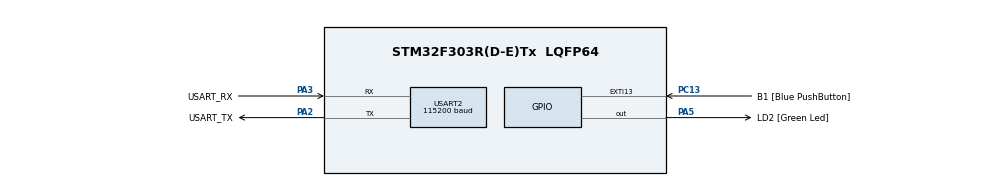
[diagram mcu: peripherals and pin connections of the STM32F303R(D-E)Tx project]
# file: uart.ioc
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Mcu.Family=STM32F3
Mcu.Name=STM32F303R(D-E)Tx
Mcu.Package=LQFP64
NVIC.PriorityGroup=NVIC_PRIORITYGROUP_0
NVIC.USART2_IRQn=true\:0\:0\:false\:false\:true\:true\:true
PA13.GPIO_Label=TMS
PA13.Mode=Serial_Wire
PA13.Signal=SYS_JTMS-SWDIO
PA14.GPIO_Label=TCK
PA14.Mode=Serial_Wire
PA14.Signal=SYS_JTCK-SWCLK
PA2.GPIO_Label=USART_TX
PA2.GPIO_Mode=GPIO_MODE_AF_PP
PA2.GPIO_PuPd=GPIO_NOPULL
PA2.GPIO_Speed=GPIO_SPEED_FREQ_LOW
PA2.Mode=Asynchronous
PA2.Signal=USART2_TX
PA3.GPIO_Label=USART_RX
PA3.GPIO_Mode=GPIO_MODE_AF_PP
PA3.GPIO_PuPd=GPIO_NOPULL
PA3.GPIO_Speed=GPIO_SPEED_FREQ_LOW
PA3.Mode=Asynchronous
PA3.Signal=USART2_RX
PA5.GPIO_Label=LD2 [Green Led]
PA5.GPIO_Mode=GPIO_MODE_OUTPUT_PP
PA5.GPIO_PuPd=GPIO_NOPULL
PA5.GPIO_Speed=GPIO_SPEED_FREQ_LOW
PA5.Signal=GPIO_Output
PB3.GPIO_Label=SWO
PB3.Signal=SYS_JTDO-TRACESWO
PC13.GPIO_Label=B1 [Blue PushButton]
PC13.GPIO_ModeDefaultEXTI=GPIO_MODE_IT_FALLING
PC13.Signal=GPXTI13
PC14-OSC32_IN.Mode=LSE-External-Oscillator
PC14-OSC32_IN.Signal=RCC_OSC32_IN
PC15-OSC32_OUT.Mode=LSE-External-Oscillator
PC15-OSC32_OUT.Signal=RCC_OSC32_OUT
PF0-OSC_IN.Mode=HSE-External-Clock-Source
PF0-OSC_IN.Signal=RCC_OSC_IN
PF1-OSC_OUT.Signal=RCC_OSC_OUT
ProjectManager.HeapSize=0x200
ProjectManager.StackSize=0x400
ProjectManager.TargetToolchain=SW4STM32
RCC.AHBFreq_Value=72000000
RCC.APB1CLKDivider=RCC_HCLK_DIV2
RCC.APB1Freq_Value=36000000
RCC.APB1TimFreq_Value=72000000
RCC.APB2Freq_Value=72000000
RCC.APB2TimFreq_Value=72000000
RCC.CortexFreq_Value=72000000
RCC.HCLKFreq_Value=72000000
RCC.HSE_VALUE=8000000
RCC.HSI_VALUE=8000000
RCC.PLLM=8
RCC.PLLMUL=RCC_PLL_MUL9
RCC.PLLN=336
RCC.PLLP=RCC_PLLP_DIV4
RCC.PLLQ=7
RCC.RCC_PLLsource_Clock_Source_FROM_HSE=RCC_HSE_PREDIV_DIV2
RCC.SYSCLKFreq_VALUE=72000000
RCC.SYSCLKSourceVirtual=RCC_SYSCLKSOURCE_PLLCLK
RCC.USBFreq_Value=72000000
USART2.BaudRate=115200
USART2.VirtualMode-Asynchronous=VM_ASYNC
board=NUCLEO-F303RE

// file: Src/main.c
/* USER CODE BEGIN Header */
/**
  ******************************************************************************
  * @file           : main.c
  * @brief          : Main program body
  ******************************************************************************
  * @attention
  *
  * <h2><center>&copy; Copyright (c) 2019 STMicroelectronics.
  * All rights reserved.</center></h2>
  *
  * This software component is licensed by ST under BSD 3-Clause license,
  * the "License"; You may not use this file except in compliance with the
  * License. You may obtain a copy of the License at:
  *                        opensource.org/licenses/BSD-3-Clause
  *
  ******************************************************************************
  */
/* USER CODE END Header */

#include "main.h"

/* USER CODE BEGIN Includes */

#include <uart.h>
#include <frame_parser.h>

/* USER CODE END Includes */

/* USER CODE BEGIN PV */

volatile ParserStatus status_uart;
volatile frame_t current_frame;
volatile simple_distance_t current_simpledistance;
volatile uint32_t current_speedofsound;
volatile distance_t current_distance;
volatile UART_handler_t transmit;

/* USER CODE END PV */

void SystemClock_Config(void);
static void MX_GPIO_Init(void);
static void MX_USART2_UART_Init(void);
/* USER CODE BEGIN PFP */

void UART_Interrupt_subroutine(uint8_t byte_tmp, frame_t * frame_tmp);

/* USER CODE END PFP */

/* USER CODE BEGIN 0 */

void UART_Interrupt_subroutine(uint8_t byte_tmp, frame_t * frame_tmp)
{
	status_uart = Parser_ParseByte(byte_tmp, frame_tmp);
	current_frame = *frame_tmp;
}

/* USER CODE END 0 */

int main(void)
{
  /* USER CODE BEGIN 1 */
	uint8_t buff[256];
	uint32_t length;

  /* USER CODE END 1 */

  /* MCU Configuration--------------------------------------------------------*/

  /* Reset of all peripherals, Initializes the Flash interface and the Systick. */

  LL_APB2_GRP1_EnableClock(LL_APB2_GRP1_PERIPH_SYSCFG);
  LL_APB1_GRP1_EnableClock(LL_APB1_GRP1_PERIPH_PWR);

  NVIC_SetPriorityGrouping(NVIC_PRIORITYGROUP_0);

  /* System interrupt init*/

  /* USER CODE BEGIN Init */

  //Parser_InitFrame(&frameCOS);

  /* USER CODE END Init */

  /* Configure the system clock */
  SystemClock_Config();

  /* Initialize all configured peripherals */
  MX_GPIO_Init();
  MX_USART2_UART_Init();
  /* USER CODE BEGIN 2 */

  uart_init(&transmit, USART2);
  LL_USART_EnableIT_RXNE(USART2);
  length = Parser_CreateSimpleDistanceRequest(buff);
  uart_transmit_it(&transmit, buff, length);

/*
  uint8_t i=0;
  while(i < length)
  {
	  UART_Interrupt_subroutine(buff[i], &frameCOS);
	  i++;
  }

  if (status_uart == PARSER_COMPLETE)
  {

  }

  */
  /* USER CODE END 2 */

  /* Infinite loop */
  /* USER CODE BEGIN WHILE */
  while (1)
  {
	  if(status_uart == PARSER_COMPLETE && current_frame.state == STATE_WAIT)
	  {
		  switch(current_frame.message_id)
		  {
		  	  case(ID_DISTANCE_SIMPLE):

				Parser_ParseSimpleDistance(&current_frame, &current_simpledistance);
		  	  	break;

		  	  case(ID_SPEED_OF_SOUND):

				Parser_ParseSpeedOfSound(&current_frame, &current_speedofsound);
		  	  	break;

		  	  case(ID_DISTANCE):
				Parser_ParseDistance(&current_frame, &current_distance);
				break;
		  }
	  }

    /* USER CODE END WHILE */

  }
}

void SystemClock_Config(void)
{
  LL_FLASH_SetLatency(LL_FLASH_LATENCY_2);

   if(LL_FLASH_GetLatency() != LL_FLASH_LATENCY_2)
  {
  Error_Handler();
  }
  LL_RCC_HSI_Enable();

   /* Wait till HSI is ready */
  while(LL_RCC_HSI_IsReady() != 1)
  {

  }
  LL_RCC_HSI_SetCalibTrimming(16);
  LL_RCC_PLL_ConfigDomain_SYS(LL_RCC_PLLSOURCE_HSI, LL_RCC_PLL_MUL_9, LL_RCC_PREDIV_DIV_1);
  LL_RCC_PLL_Enable();

   /* Wait till PLL is ready */
  while(LL_RCC_PLL_IsReady() != 1)
  {

  }
  LL_RCC_SetAHBPrescaler(LL_RCC_SYSCLK_DIV_1);
  LL_RCC_SetAPB1Prescaler(LL_RCC_APB1_DIV_2);
  LL_RCC_SetAPB2Prescaler(LL_RCC_APB1_DIV_1);
  LL_RCC_SetSysClkSource(LL_RCC_SYS_CLKSOURCE_PLL);

   /* Wait till System clock is ready */
  while(LL_RCC_GetSysClkSource() != LL_RCC_SYS_CLKSOURCE_STATUS_PLL)
  {

  }
  LL_SetSystemCoreClock(72000000);
  LL_Init1msTick(72000000);
  LL_SYSTICK_SetClkSource(LL_SYSTICK_CLKSOURCE_HCLK);
  LL_RCC_SetUSARTClockSource(LL_RCC_USART2_CLKSOURCE_PCLK1);
}

static void MX_USART2_UART_Init(void)
{

  LL_USART_InitTypeDef USART_InitStruct = {0};

  LL_GPIO_InitTypeDef GPIO_InitStruct = {0};

  /* Peripheral clock enable */
  LL_APB1_GRP1_EnableClock(LL_APB1_GRP1_PERIPH_USART2);

  LL_AHB1_GRP1_EnableClock(LL_AHB1_GRP1_PERIPH_GPIOA);
  /**USART2 GPIO Configuration
  PA2   ------> USART2_TX
  PA3   ------> USART2_RX
  */
  GPIO_InitStruct.Pin = USART_TX_Pin|USART_RX_Pin;
  GPIO_InitStruct.Mode = LL_GPIO_MODE_ALTERNATE;
  GPIO_InitStruct.Speed = LL_GPIO_SPEED_FREQ_LOW;
  GPIO_InitStruct.OutputType = LL_GPIO_OUTPUT_PUSHPULL;
  GPIO_InitStruct.Pull = LL_GPIO_PULL_NO;
  GPIO_InitStruct.Alternate = LL_GPIO_AF_7;
  LL_GPIO_Init(GPIOA, &GPIO_InitStruct);

  /* USART2 interrupt Init */
  NVIC_SetPriority(USART2_IRQn, NVIC_EncodePriority(NVIC_GetPriorityGrouping(),0, 0));
  NVIC_EnableIRQ(USART2_IRQn);

  USART_InitStruct.BaudRate = 115200;
  USART_InitStruct.DataWidth = LL_USART_DATAWIDTH_8B;
  USART_InitStruct.StopBits = LL_USART_STOPBITS_1;
  USART_InitStruct.Parity = LL_USART_PARITY_NONE;
  USART_InitStruct.TransferDirection = LL_USART_DIRECTION_TX_RX;
  USART_InitStruct.HardwareFlowControl = LL_USART_HWCONTROL_NONE;
  USART_InitStruct.OverSampling = LL_USART_OVERSAMPLING_16;
  LL_USART_Init(USART2, &USART_InitStruct);
  LL_USART_DisableIT_CTS(USART2);
  LL_USART_ConfigAsyncMode(USART2);
  LL_USART_Enable(USART2);

}

static void MX_GPIO_Init(void)
{
  LL_EXTI_InitTypeDef EXTI_InitStruct = {0};
  LL_GPIO_InitTypeDef GPIO_InitStruct = {0};

  /* GPIO Ports Clock Enable */
  LL_AHB1_GRP1_EnableClock(LL_AHB1_GRP1_PERIPH_GPIOC);
  LL_AHB1_GRP1_EnableClock(LL_AHB1_GRP1_PERIPH_GPIOF);
  LL_AHB1_GRP1_EnableClock(LL_AHB1_GRP1_PERIPH_GPIOA);
  LL_AHB1_GRP1_EnableClock(LL_AHB1_GRP1_PERIPH_GPIOB);

  /**/
  LL_GPIO_ResetOutputPin(LD2_GPIO_Port, LD2_Pin);

  /**/
  LL_SYSCFG_SetEXTISource(LL_SYSCFG_EXTI_PORTC, LL_SYSCFG_EXTI_LINE13);

  /**/
  LL_GPIO_SetPinPull(B1_GPIO_Port, B1_Pin, LL_GPIO_PULL_NO);

  /**/
  LL_GPIO_SetPinMode(B1_GPIO_Port, B1_Pin, LL_GPIO_MODE_INPUT);

  /**/
  EXTI_InitStruct.Line_0_31 = LL_EXTI_LINE_13;
  EXTI_InitStruct.Line_32_63 = LL_EXTI_LINE_NONE;
  EXTI_InitStruct.LineCommand = ENABLE;
  EXTI_InitStruct.Mode = LL_EXTI_MODE_IT;
  EXTI_InitStruct.Trigger = LL_EXTI_TRIGGER_FALLING;
  LL_EXTI_Init(&EXTI_InitStruct);

  /**/
  GPIO_InitStruct.Pin = LD2_Pin;
  GPIO_InitStruct.Mode = LL_GPIO_MODE_OUTPUT;
  GPIO_InitStruct.Speed = LL_GPIO_SPEED_FREQ_LOW;
  GPIO_InitStruct.OutputType = LL_GPIO_OUTPUT_PUSHPULL;
  GPIO_InitStruct.Pull = LL_GPIO_PULL_NO;
  LL_GPIO_Init(LD2_GPIO_Port, &GPIO_InitStruct);

}

void Error_Handler(void)
{
}

/************************ (C) COPYRIGHT STMicroelectronics *****END OF FILE****/
